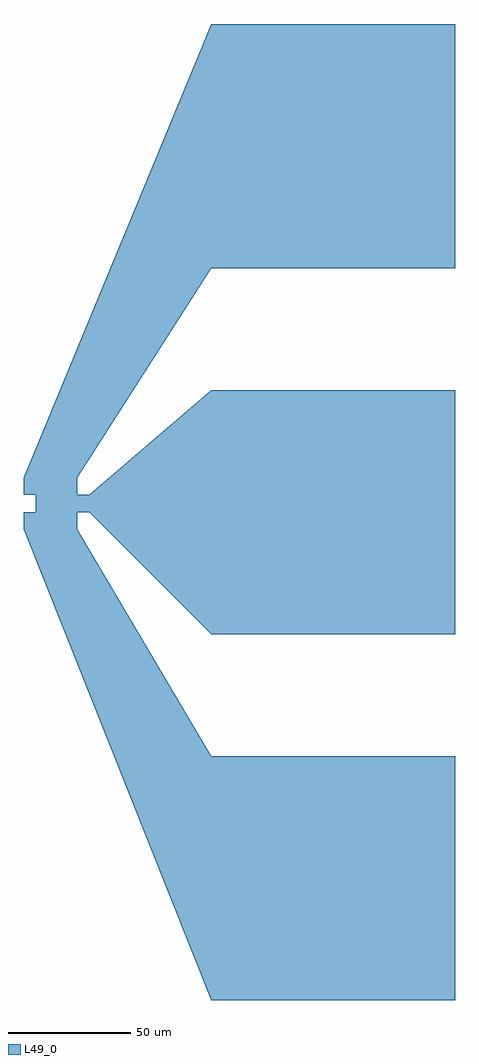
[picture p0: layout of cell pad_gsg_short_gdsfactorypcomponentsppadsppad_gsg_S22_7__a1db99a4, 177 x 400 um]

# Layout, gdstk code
import gdstk
lib = gdstk.Library(unit=1e-6, precision=1e-09)
def R(c, l, rs):  # rectangles x0, y0, x1, y1
    for r in rs: c.add(gdstk.rectangle(r[:2], r[2:], *l))
def P(c, l, *ps):  # polygons
    for p in ps: c.add(gdstk.Polygon(p, *l))
L49_0 = (49, 0)

rectangle_gdsfactorypcom = lib.new_cell('rectangle_gdsfactorypcomponentspshapesprectangle_S22_7__3bd5087d')
R(rectangle_gdsfactorypcom, L49_0, [(0,0,22,7)])

pad_gdsfactorypcomponent = lib.new_cell('pad_gdsfactorypcomponentsppadsppad_S100_100_LMTOP_BLNon_457de54c')
R(pad_gdsfactorypcomponent, L49_0, [(-50,-50,50,50)])

array_gdsfactorypcompone = lib.new_cell('array_gdsfactorypcomponentspcontainersparray_component__febecbc6')
r = gdstk.Reference(pad_gdsfactorypcomponent, (0,-150)); r.repetition = gdstk.Repetition(1, 3, v1=(0,0), v2=(0,150)); array_gdsfactorypcompone.add(r)

pad_gsg_short_gdsfactory = lib.new_cell('pad_gsg_short_gdsfactorypcomponentsppadsppad_gsg_S22_7__a1db99a4')
P(pad_gsg_short_gdsfactory, L49_0, [(72,-200),(-5,-7),(17,-7),(72,-100)],
  [(-5,14),(72,200),(72,100),(17,14)],
  [(72,-50),(22,0),(22,7),(72,50)])
pad_gsg_short_gdsfactory.add(gdstk.Reference(rectangle_gdsfactorypcom, (-5,7)))
pad_gsg_short_gdsfactory.add(gdstk.Reference(rectangle_gdsfactorypcom, (0,0)))
pad_gsg_short_gdsfactory.add(gdstk.Reference(rectangle_gdsfactorypcom, (-5,-7)))
pad_gsg_short_gdsfactory.add(gdstk.Reference(array_gdsfactorypcompone, (122,0)))

lib.write_gds('pad_gsg_short_gdsfactorypcomponentsppadsppad_gsg_S22_7__a1db99a4.gds')
